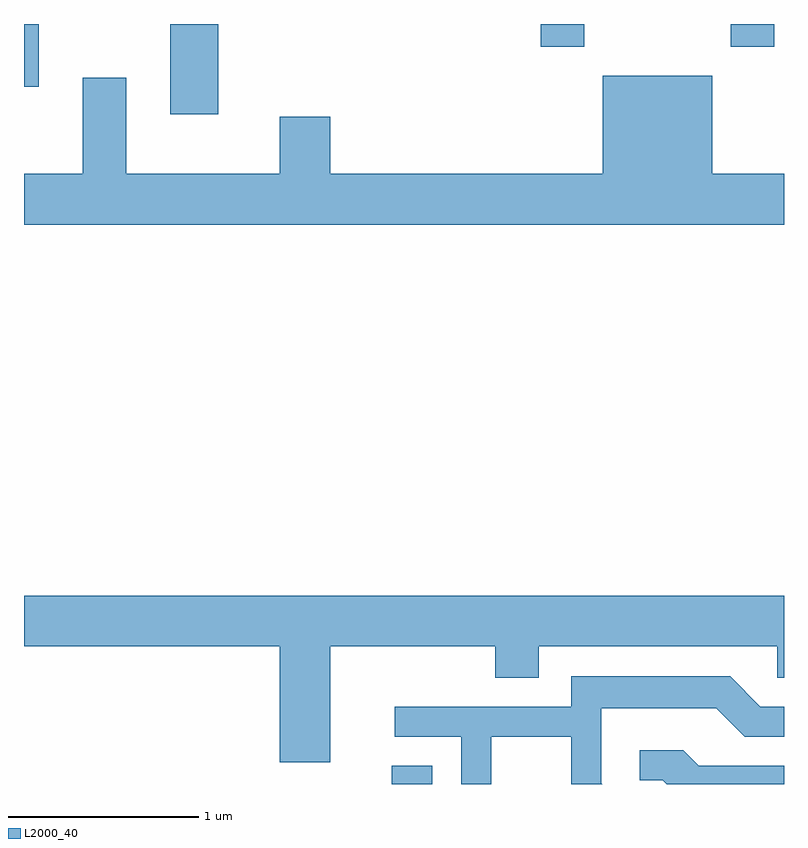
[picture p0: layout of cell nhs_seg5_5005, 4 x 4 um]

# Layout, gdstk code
import gdstk
lib = gdstk.Library(unit=1e-6, precision=1e-09)
def R(c, l, rs):  # rectangles x0, y0, x1, y1
    for r in rs: c.add(gdstk.rectangle(r[:2], r[2:], *l))
def P(c, l, *ps):  # polygons
    for p in ps: c.add(gdstk.Polygon(p, *l))
L2000_40 = (2000, 40)

nhs_seg5_5005 = lib.new_cell('nhs_seg5_5005')
R(nhs_seg5_5005, L2000_40, [(335.546,1456.072,335.759,1456.169), (334.381,1459.596,334.634,1460.072), (333.611,1459.741,333.689,1460.072), (336.331,1459.951,336.559,1460.072), (337.331,1459.951,337.559,1460.072)])
P(nhs_seg5_5005, L2000_40, [(337.611,1459.284),(337.234,1459.284),(337.234,1459.799),(336.656,1459.799),(336.656,1459.284),(335.224,1459.284),(335.224,1459.584),(334.956,1459.584),(334.956,1459.284),(334.149,1459.284),(334.149,1459.789),(333.921,1459.789),(333.921,1459.284),(333.611,1459.284),(333.611,1459.016),(337.611,1459.016)],
  [(335.224,1456.796),(336.091,1456.796),(336.091,1456.631),(336.319,1456.631),(336.319,1456.796),(337.576,1456.796),(337.576,1456.631),(337.611,1456.631),(337.611,1457.064),(333.611,1457.064),(333.611,1456.796),(334.956,1456.796),(334.956,1456.186),(335.224,1456.186)],
  [(336.069,1456.321),(336.491,1456.321),(336.491,1456.072),(336.654,1456.072),(336.649,1456.077),(336.649,1456.471),(337.254,1456.471),(337.404,1456.321),(337.611,1456.321),(337.611,1456.479),(337.487,1456.479),(337.327,1456.639),(336.491,1456.639),(336.491,1456.479),(335.563,1456.479),(335.563,1456.321),(335.911,1456.321),(335.911,1456.072),(336.069,1456.072)],
  [(337.611,1456.169),(337.162,1456.169),(337.082,1456.249),(336.853,1456.249),(336.853,1456.091),(336.974,1456.091),(336.993,1456.072),(337.611,1456.072)])

lib.write_gds('nhs_seg5_5005.gds')
